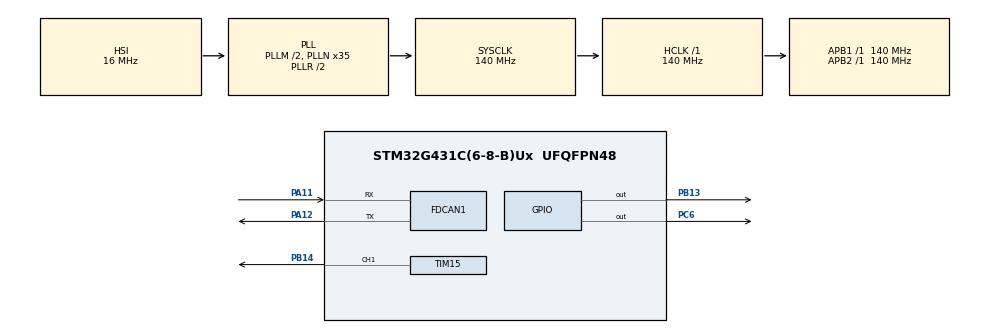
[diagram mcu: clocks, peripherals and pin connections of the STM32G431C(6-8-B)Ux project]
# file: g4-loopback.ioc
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FDCAN1.AutoRetransmission=ENABLE
FDCAN1.CalculateBaudRateNominal=1000000
FDCAN1.CalculateTimeBitNominal=1000
FDCAN1.CalculateTimeQuantumNominal=7.142857142857143
FDCAN1.DataPrescaler=5
FDCAN1.DataSyncJumpWidth=13
FDCAN1.DataTimeSeg1=14
FDCAN1.DataTimeSeg2=13
FDCAN1.FrameFormat=FDCAN_FRAME_FD_NO_BRS
FDCAN1.Mode=FDCAN_MODE_EXTERNAL_LOOPBACK
FDCAN1.NominalPrescaler=1
FDCAN1.NominalSyncJumpWidth=19
FDCAN1.NominalTimeSeg1=120
FDCAN1.NominalTimeSeg2=19
FDCAN1.TransmitPause=ENABLE
Mcu.Family=STM32G4
Mcu.Name=STM32G431C(6-8-B)Ux
Mcu.Package=UFQFPN48
NVIC.FDCAN1_IT0_IRQn=true\:0\:0\:false\:false\:true\:true\:true\:true
NVIC.PriorityGroup=NVIC_PRIORITYGROUP_4
PA11.Mode=FDCAN_Activate
PA11.Signal=FDCAN1_RX
PA12.Mode=FDCAN_Activate
PA12.Signal=FDCAN1_TX
PB13.Signal=GPIO_Output
PB14.Signal=S_TIM15_CH1
PC6.Signal=GPIO_Output
ProjectManager.HeapSize=0x200
ProjectManager.StackSize=0x400
ProjectManager.TargetToolchain=STM32CubeIDE
RCC.ADC12Freq_Value=140000000
RCC.AHBFreq_Value=140000000
RCC.APB1Freq_Value=140000000
RCC.APB1TimFreq_Value=140000000
RCC.APB2Freq_Value=140000000
RCC.APB2TimFreq_Value=140000000
RCC.CortexFreq_Value=140000000
RCC.EXTERNAL_CLOCK_VALUE=12288000
RCC.HCLKFreq_Value=140000000
RCC.HSE_VALUE=8000000
RCC.HSI48_VALUE=48000000
RCC.HSI_VALUE=16000000
RCC.LSE_VALUE=32768
RCC.PLLM=RCC_PLLM_DIV2
RCC.PLLN=35
RCC.SYSCLKFreq_VALUE=140000000
RCC.SYSCLKSource=RCC_SYSCLKSOURCE_PLLCLK
RCC.USBFreq_Value=140000000
RCC.VCOOutputFreq_Value=280000000
SH.S_TIM15_CH1.0=TIM15_CH1,PWM Generation1 CH1
TIM15.Channel-PWM\ Generation1\ CH1=TIM_CHANNEL_1
TIM15.PeriodNoDither=99
TIM15.Prescaler=139
board=custom

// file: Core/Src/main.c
/* USER CODE BEGIN Header */
/**
  ******************************************************************************
  * @file           : main.c
  * @brief          : Main program body
  ******************************************************************************
  * @attention
  *
  * Copyright (c) 2024 STMicroelectronics.
  * All rights reserved.
  *
  * This software is licensed under terms that can be found in the LICENSE file
  * in the root directory of this software component.
  * If no LICENSE file comes with this software, it is provided AS-IS.
  *
  ******************************************************************************
  */
/* USER CODE END Header */
#include "main.h"

FDCAN_HandleTypeDef hfdcan1;

TIM_HandleTypeDef htim15;

/* USER CODE BEGIN PV */
FDCAN_TxHeaderTypeDef TxHeader;
FDCAN_RxHeaderTypeDef RxHeader;
uint8_t TxData[] = {0x10, 0x32, 0x54, 0x76, 0x98, 0x00, 0x11, 0x22, 0x33, 0x44, 0x55, 0x66};
uint8_t RxData[12];

void HAL_FDCAN_RxFifo0Callback(FDCAN_HandleTypeDef *hfdcan, uint32_t RxFifo0ITs)
{
  if((RxFifo0ITs & FDCAN_IT_RX_FIFO0_NEW_MESSAGE) != RESET)
  {
    /* Retreive Rx messages from RX FIFO0 */
    if (HAL_FDCAN_GetRxMessage(hfdcan, FDCAN_RX_FIFO0, &RxHeader, RxData) != HAL_OK)
    {
    /* Reception Error */
    Error_Handler();
    }
    if (HAL_FDCAN_ActivateNotification(hfdcan, FDCAN_IT_RX_FIFO0_NEW_MESSAGE, 0) != HAL_OK)
    {
      /* Notification Error */
      Error_Handler();
    }

  }
  if (HAL_FDCAN_GetTxFifoFreeLevel(&hfdcan1)) {
  		// Free space in the mailbox
  		if (HAL_FDCAN_AddMessageToTxFifoQ(&hfdcan1, &TxHeader, TxData)!= HAL_OK) {
  			Error_Handler();
  		}
  	} else {
  		// Abort oldest message in the mailbox to make room for the new message
  		HAL_FDCAN_AbortTxRequest(&hfdcan1, FDCAN_TX_BUFFER0);
  	}
}

/* USER CODE END PV */

void SystemClock_Config(void);
static void MX_GPIO_Init(void);
static void MX_FDCAN1_Init(void);
static void MX_TIM15_Init(void);

int main(void)
{

  /* MCU Configuration--------------------------------------------------------*/

  /* Reset of all peripherals, Initializes the Flash interface and the Systick. */
  HAL_Init();

  /* Configure the system clock */
  SystemClock_Config();

  /* USER CODE BEGIN SysInit */
#ifdef VECT_TAB_SRAM
  SCB->VTOR = SRAM_BASE;
#else
  SCB->VTOR = FLASH_BASE;
#endif
  /* USER CODE END SysInit */

  /* Initialize all configured peripherals */
  MX_GPIO_Init();
  MX_FDCAN1_Init();
  MX_TIM15_Init();
  /* USER CODE BEGIN 2 */
	if (HAL_FDCAN_Start(&hfdcan1) != HAL_OK) {
		  Error_Handler();
	}
	if (HAL_FDCAN_ActivateNotification(&hfdcan1, FDCAN_IT_RX_FIFO0_NEW_MESSAGE, 0) != HAL_OK) {
		/* Notification Error */
		Error_Handler();
	}

 	TxHeader.Identifier = 0x123;
	TxHeader.IdType = FDCAN_STANDARD_ID;
	TxHeader.TxFrameType = FDCAN_DATA_FRAME;
	TxHeader.DataLength = FDCAN_DLC_BYTES_12;
	TxHeader.ErrorStateIndicator = FDCAN_ESI_ACTIVE;
	TxHeader.BitRateSwitch = FDCAN_BRS_OFF;
	TxHeader.FDFormat = FDCAN_FD_CAN;
	TxHeader.TxEventFifoControl = FDCAN_NO_TX_EVENTS;
	TxHeader.MessageMarker = 0;

  /* USER CODE END 2 */

  /* Infinite loop */
  /* USER CODE BEGIN WHILE */

	HAL_TIM_PWM_Start(&htim15, TIM_CHANNEL_1);
  while (1)
  {

	HAL_Delay(100);

	int values[5] = {50, 30, 50, 70, 90};
	HAL_GPIO_WritePin(GPIOB, GPIO_PIN_15, GPIO_PIN_RESET);
	TIM15->CCR1 = 0;

//	for (int i = 0; i < 5; ++i) {
//		HAL_GPIO_WritePin(GPIOB, GPIO_PIN_15, GPIO_PIN_RESET);
//		TIM15->CCR1 = values[i];
//		HAL_Delay(1000);
//		HAL_GPIO_WritePin(GPIOB, GPIO_PIN_15, GPIO_PIN_SET);
//		HAL_Delay(1000);
//	}

    /* USER CODE END WHILE */

  }
}

void SystemClock_Config(void)
{
  RCC_OscInitTypeDef RCC_OscInitStruct = {0};
  RCC_ClkInitTypeDef RCC_ClkInitStruct = {0};

  /** Configure the main internal regulator output voltage
  */
  HAL_PWREx_ControlVoltageScaling(PWR_REGULATOR_VOLTAGE_SCALE1);

  /** Initializes the RCC Oscillators according to the specified parameters
  * in the RCC_OscInitTypeDef structure.
  */
  RCC_OscInitStruct.OscillatorType = RCC_OSCILLATORTYPE_HSI;
  RCC_OscInitStruct.HSIState = RCC_HSI_ON;
  RCC_OscInitStruct.HSICalibrationValue = RCC_HSICALIBRATION_DEFAULT;
  RCC_OscInitStruct.PLL.PLLState = RCC_PLL_ON;
  RCC_OscInitStruct.PLL.PLLSource = RCC_PLLSOURCE_HSI;
  RCC_OscInitStruct.PLL.PLLM = RCC_PLLM_DIV2;
  RCC_OscInitStruct.PLL.PLLN = 35;
  RCC_OscInitStruct.PLL.PLLP = RCC_PLLP_DIV2;
  RCC_OscInitStruct.PLL.PLLQ = RCC_PLLQ_DIV2;
  RCC_OscInitStruct.PLL.PLLR = RCC_PLLR_DIV2;
  if (HAL_RCC_OscConfig(&RCC_OscInitStruct) != HAL_OK)
  {
    Error_Handler();
  }

  /** Initializes the CPU, AHB and APB buses clocks
  */
  RCC_ClkInitStruct.ClockType = RCC_CLOCKTYPE_HCLK|RCC_CLOCKTYPE_SYSCLK
                              |RCC_CLOCKTYPE_PCLK1|RCC_CLOCKTYPE_PCLK2;
  RCC_ClkInitStruct.SYSCLKSource = RCC_SYSCLKSOURCE_PLLCLK;
  RCC_ClkInitStruct.AHBCLKDivider = RCC_SYSCLK_DIV1;
  RCC_ClkInitStruct.APB1CLKDivider = RCC_HCLK_DIV1;
  RCC_ClkInitStruct.APB2CLKDivider = RCC_HCLK_DIV1;

  if (HAL_RCC_ClockConfig(&RCC_ClkInitStruct, FLASH_LATENCY_4) != HAL_OK)
  {
    Error_Handler();
  }
}

static void MX_FDCAN1_Init(void)
{

  hfdcan1.Instance = FDCAN1;
  hfdcan1.Init.ClockDivider = FDCAN_CLOCK_DIV1;
  hfdcan1.Init.FrameFormat = FDCAN_FRAME_FD_NO_BRS;
  hfdcan1.Init.Mode = FDCAN_MODE_EXTERNAL_LOOPBACK;
  hfdcan1.Init.AutoRetransmission = ENABLE;
  hfdcan1.Init.TransmitPause = ENABLE;
  hfdcan1.Init.ProtocolException = DISABLE;
  hfdcan1.Init.NominalPrescaler = 1;
  hfdcan1.Init.NominalSyncJumpWidth = 19;
  hfdcan1.Init.NominalTimeSeg1 = 120;
  hfdcan1.Init.NominalTimeSeg2 = 19;
  hfdcan1.Init.DataPrescaler = 5;
  hfdcan1.Init.DataSyncJumpWidth = 13;
  hfdcan1.Init.DataTimeSeg1 = 14;
  hfdcan1.Init.DataTimeSeg2 = 13;
  hfdcan1.Init.StdFiltersNbr = 0;
  hfdcan1.Init.ExtFiltersNbr = 0;
  hfdcan1.Init.TxFifoQueueMode = FDCAN_TX_FIFO_OPERATION;
  if (HAL_FDCAN_Init(&hfdcan1) != HAL_OK)
  {
    Error_Handler();
  }

}

static void MX_TIM15_Init(void)
{

  TIM_MasterConfigTypeDef sMasterConfig = {0};
  TIM_OC_InitTypeDef sConfigOC = {0};
  TIM_BreakDeadTimeConfigTypeDef sBreakDeadTimeConfig = {0};

  htim15.Instance = TIM15;
  htim15.Init.Prescaler = 139;
  htim15.Init.CounterMode = TIM_COUNTERMODE_UP;
  htim15.Init.Period = 99;
  htim15.Init.ClockDivision = TIM_CLOCKDIVISION_DIV1;
  htim15.Init.RepetitionCounter = 0;
  htim15.Init.AutoReloadPreload = TIM_AUTORELOAD_PRELOAD_DISABLE;
  if (HAL_TIM_PWM_Init(&htim15) != HAL_OK)
  {
    Error_Handler();
  }
  sMasterConfig.MasterOutputTrigger = TIM_TRGO_RESET;
  sMasterConfig.MasterSlaveMode = TIM_MASTERSLAVEMODE_DISABLE;
  if (HAL_TIMEx_MasterConfigSynchronization(&htim15, &sMasterConfig) != HAL_OK)
  {
    Error_Handler();
  }
  sConfigOC.OCMode = TIM_OCMODE_PWM1;
  sConfigOC.Pulse = 0;
  sConfigOC.OCPolarity = TIM_OCPOLARITY_HIGH;
  sConfigOC.OCNPolarity = TIM_OCNPOLARITY_HIGH;
  sConfigOC.OCFastMode = TIM_OCFAST_DISABLE;
  sConfigOC.OCIdleState = TIM_OCIDLESTATE_RESET;
  sConfigOC.OCNIdleState = TIM_OCNIDLESTATE_RESET;
  if (HAL_TIM_PWM_ConfigChannel(&htim15, &sConfigOC, TIM_CHANNEL_1) != HAL_OK)
  {
    Error_Handler();
  }
  sBreakDeadTimeConfig.OffStateRunMode = TIM_OSSR_DISABLE;
  sBreakDeadTimeConfig.OffStateIDLEMode = TIM_OSSI_DISABLE;
  sBreakDeadTimeConfig.LockLevel = TIM_LOCKLEVEL_OFF;
  sBreakDeadTimeConfig.DeadTime = 0;
  sBreakDeadTimeConfig.BreakState = TIM_BREAK_DISABLE;
  sBreakDeadTimeConfig.BreakPolarity = TIM_BREAKPOLARITY_HIGH;
  sBreakDeadTimeConfig.BreakFilter = 0;
  sBreakDeadTimeConfig.AutomaticOutput = TIM_AUTOMATICOUTPUT_DISABLE;
  if (HAL_TIMEx_ConfigBreakDeadTime(&htim15, &sBreakDeadTimeConfig) != HAL_OK)
  {
    Error_Handler();
  }
  HAL_TIM_MspPostInit(&htim15);

}

static void MX_GPIO_Init(void)
{
  GPIO_InitTypeDef GPIO_InitStruct = {0};

  /* GPIO Ports Clock Enable */
  __HAL_RCC_GPIOB_CLK_ENABLE();
  __HAL_RCC_GPIOC_CLK_ENABLE();
  __HAL_RCC_GPIOA_CLK_ENABLE();

  /*Configure GPIO pin Output Level */
  HAL_GPIO_WritePin(GPIOB, GPIO_PIN_13, GPIO_PIN_RESET);

  /*Configure GPIO pin Output Level */
  HAL_GPIO_WritePin(GPIOC, GPIO_PIN_6, GPIO_PIN_RESET);

  /*Configure GPIO pin : PB13 */
  GPIO_InitStruct.Pin = GPIO_PIN_13;
  GPIO_InitStruct.Mode = GPIO_MODE_OUTPUT_PP;
  GPIO_InitStruct.Pull = GPIO_NOPULL;
  GPIO_InitStruct.Speed = GPIO_SPEED_FREQ_LOW;
  HAL_GPIO_Init(GPIOB, &GPIO_InitStruct);

  /*Configure GPIO pin : PC6 */
  GPIO_InitStruct.Pin = GPIO_PIN_6;
  GPIO_InitStruct.Mode = GPIO_MODE_OUTPUT_PP;
  GPIO_InitStruct.Pull = GPIO_NOPULL;
  GPIO_InitStruct.Speed = GPIO_SPEED_FREQ_LOW;
  HAL_GPIO_Init(GPIOC, &GPIO_InitStruct);

}

void Error_Handler(void)
{
  __disable_irq();
  while (1)
  {
  }
}
